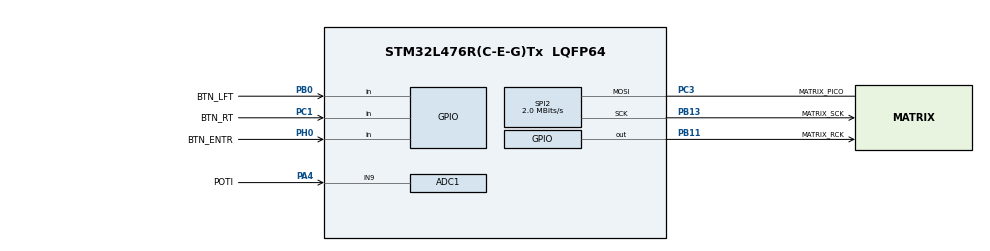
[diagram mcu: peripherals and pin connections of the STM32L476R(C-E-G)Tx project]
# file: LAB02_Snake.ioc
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ADC1.Channel-0\#ChannelRegularConversion=ADC_CHANNEL_9
ADC1.ClockPrescaler=ADC_CLOCK_ASYNC_DIV8
ADC1.ContinuousConvMode=ENABLE
ADC1.NbrOfConversion=1
ADC1.NbrOfConversionFlag=1
ADC1.OffsetNumber-0\#ChannelRegularConversion=ADC_OFFSET_NONE
ADC1.Overrun=ADC_OVR_DATA_OVERWRITTEN
ADC1.Rank-0\#ChannelRegularConversion=1
ADC1.SamplingTime-0\#ChannelRegularConversion=ADC_SAMPLETIME_92CYCLES_5
ADC1.master=1
Mcu.Family=STM32L4
Mcu.Name=STM32L476R(C-E-G)Tx
Mcu.Package=LQFP64
NVIC.PriorityGroup=NVIC_PRIORITYGROUP_4
PA4.GPIO_Label=POTI
PA4.Signal=ADCx_IN9
PB0.GPIO_Label=BTN_LFT
PB0.Signal=GPIO_Input
PB11.GPIO_Label=MATRIX_RCK
PB11.Signal=GPIO_Output
PB13.GPIO_Label=MATRIX_SCK
PB13.Mode=Simplex_Bidirectional_Master
PB13.Signal=SPI2_SCK
PC1.GPIO_Label=BTN_RT
PC1.Signal=GPIO_Input
PC3.GPIO_Label=MATRIX_PICO
PC3.Mode=Simplex_Bidirectional_Master
PC3.Signal=SPI2_MOSI
PH0-OSC_IN\ (PH0).GPIO_Label=BTN_ENTR
PH0-OSC_IN\ (PH0).Signal=GPIO_Input
ProjectManager.HeapSize=0x200
ProjectManager.StackSize=0x400
ProjectManager.TargetToolchain=STM32CubeIDE
RCC.ADCFreq_Value=32000000
RCC.HSE_VALUE=8000000
RCC.HSI_VALUE=16000000
RCC.LSE_VALUE=32768
RCC.MSI_VALUE=4000000
RCC.PLLSAI1N=16
RCC.USBFreq_Value=32000000
RCC.VCOOutputFreq_Value=32000000
SH.ADCx_IN9.0=ADC1_IN9,IN9-Single-Ended
SPI2.CalculateBaudRate=2.0 MBits/s
SPI2.DataSize=SPI_DATASIZE_8BIT
SPI2.Direction=SPI_DIRECTION_1LINE
SPI2.Mode=SPI_MODE_MASTER
SPI2.VirtualType=VM_MASTER
board=custom

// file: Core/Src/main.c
/* USER CODE BEGIN Header */
/**
 * @file main.c
 * @brief Snake Game board config + main function.
 * @author Philipp Schilk, 2023
 *
 * For very important research project!
 */

/* USER CODE END Header */
#include "main.h"

/* USER CODE BEGIN Includes */
#include "snake.h"
/* USER CODE END Includes */

ADC_HandleTypeDef hadc1;

SPI_HandleTypeDef hspi2;

void SystemClock_Config(void);
static void MX_GPIO_Init(void);
static void MX_SPI2_Init(void);
static void MX_ADC1_Init(void);

int main(void)
{

  /* MCU Configuration--------------------------------------------------------*/

  /* Reset of all peripherals, Initializes the Flash interface and the Systick. */
  HAL_Init();

  /* Configure the system clock */
  SystemClock_Config();

  /* Initialize all configured peripherals */
  MX_GPIO_Init();
  MX_SPI2_Init();
  MX_ADC1_Init();
  /* USER CODE BEGIN 2 */

  // Start ADC conversions:
  if (HAL_ADC_Start(&hadc1) != HAL_OK) {
    while (1) {
    }
  }

  // Run Snake:
  snake_run(); // never returns.

  /* USER CODE END 2 */

  /* Infinite loop */

}

void SystemClock_Config(void)
{
  RCC_OscInitTypeDef RCC_OscInitStruct = {0};
  RCC_ClkInitTypeDef RCC_ClkInitStruct = {0};

  /** Configure the main internal regulator output voltage
  */
  if (HAL_PWREx_ControlVoltageScaling(PWR_REGULATOR_VOLTAGE_SCALE1) != HAL_OK)
  {
    Error_Handler();
  }

  /** Initializes the RCC Oscillators according to the specified parameters
  * in the RCC_OscInitTypeDef structure.
  */
  RCC_OscInitStruct.OscillatorType = RCC_OSCILLATORTYPE_MSI;
  RCC_OscInitStruct.MSIState = RCC_MSI_ON;
  RCC_OscInitStruct.MSICalibrationValue = 0;
  RCC_OscInitStruct.MSIClockRange = RCC_MSIRANGE_6;
  RCC_OscInitStruct.PLL.PLLState = RCC_PLL_NONE;
  if (HAL_RCC_OscConfig(&RCC_OscInitStruct) != HAL_OK)
  {
    Error_Handler();
  }

  /** Initializes the CPU, AHB and APB buses clocks
  */
  RCC_ClkInitStruct.ClockType = RCC_CLOCKTYPE_HCLK|RCC_CLOCKTYPE_SYSCLK
                              |RCC_CLOCKTYPE_PCLK1|RCC_CLOCKTYPE_PCLK2;
  RCC_ClkInitStruct.SYSCLKSource = RCC_SYSCLKSOURCE_MSI;
  RCC_ClkInitStruct.AHBCLKDivider = RCC_SYSCLK_DIV1;
  RCC_ClkInitStruct.APB1CLKDivider = RCC_HCLK_DIV1;
  RCC_ClkInitStruct.APB2CLKDivider = RCC_HCLK_DIV1;

  if (HAL_RCC_ClockConfig(&RCC_ClkInitStruct, FLASH_LATENCY_0) != HAL_OK)
  {
    Error_Handler();
  }
}

static void MX_ADC1_Init(void)
{

  ADC_MultiModeTypeDef multimode = {0};
  ADC_ChannelConfTypeDef sConfig = {0};

  /** Common config
  */
  hadc1.Instance = ADC1;
  hadc1.Init.ClockPrescaler = ADC_CLOCK_ASYNC_DIV8;
  hadc1.Init.Resolution = ADC_RESOLUTION_12B;
  hadc1.Init.DataAlign = ADC_DATAALIGN_RIGHT;
  hadc1.Init.ScanConvMode = ADC_SCAN_DISABLE;
  hadc1.Init.EOCSelection = ADC_EOC_SINGLE_CONV;
  hadc1.Init.LowPowerAutoWait = DISABLE;
  hadc1.Init.ContinuousConvMode = ENABLE;
  hadc1.Init.NbrOfConversion = 1;
  hadc1.Init.DiscontinuousConvMode = DISABLE;
  hadc1.Init.ExternalTrigConv = ADC_SOFTWARE_START;
  hadc1.Init.ExternalTrigConvEdge = ADC_EXTERNALTRIGCONVEDGE_NONE;
  hadc1.Init.DMAContinuousRequests = DISABLE;
  hadc1.Init.Overrun = ADC_OVR_DATA_OVERWRITTEN;
  hadc1.Init.OversamplingMode = DISABLE;
  if (HAL_ADC_Init(&hadc1) != HAL_OK)
  {
    Error_Handler();
  }

  /** Configure the ADC multi-mode
  */
  multimode.Mode = ADC_MODE_INDEPENDENT;
  if (HAL_ADCEx_MultiModeConfigChannel(&hadc1, &multimode) != HAL_OK)
  {
    Error_Handler();
  }

  /** Configure Regular Channel
  */
  sConfig.Channel = ADC_CHANNEL_9;
  sConfig.Rank = ADC_REGULAR_RANK_1;
  sConfig.SamplingTime = ADC_SAMPLETIME_92CYCLES_5;
  sConfig.SingleDiff = ADC_SINGLE_ENDED;
  sConfig.OffsetNumber = ADC_OFFSET_NONE;
  sConfig.Offset = 0;
  if (HAL_ADC_ConfigChannel(&hadc1, &sConfig) != HAL_OK)
  {
    Error_Handler();
  }

}

static void MX_SPI2_Init(void)
{

  /* SPI2 parameter configuration*/
  hspi2.Instance = SPI2;
  hspi2.Init.Mode = SPI_MODE_MASTER;
  hspi2.Init.Direction = SPI_DIRECTION_1LINE;
  hspi2.Init.DataSize = SPI_DATASIZE_8BIT;
  hspi2.Init.CLKPolarity = SPI_POLARITY_LOW;
  hspi2.Init.CLKPhase = SPI_PHASE_1EDGE;
  hspi2.Init.NSS = SPI_NSS_SOFT;
  hspi2.Init.BaudRatePrescaler = SPI_BAUDRATEPRESCALER_2;
  hspi2.Init.FirstBit = SPI_FIRSTBIT_MSB;
  hspi2.Init.TIMode = SPI_TIMODE_DISABLE;
  hspi2.Init.CRCCalculation = SPI_CRCCALCULATION_DISABLE;
  hspi2.Init.CRCPolynomial = 7;
  hspi2.Init.CRCLength = SPI_CRC_LENGTH_DATASIZE;
  hspi2.Init.NSSPMode = SPI_NSS_PULSE_ENABLE;
  if (HAL_SPI_Init(&hspi2) != HAL_OK)
  {
    Error_Handler();
  }

}

static void MX_GPIO_Init(void)
{
  GPIO_InitTypeDef GPIO_InitStruct = {0};

  /* GPIO Ports Clock Enable */
  __HAL_RCC_GPIOH_CLK_ENABLE();
  __HAL_RCC_GPIOC_CLK_ENABLE();
  __HAL_RCC_GPIOA_CLK_ENABLE();
  __HAL_RCC_GPIOB_CLK_ENABLE();

  /*Configure GPIO pin Output Level */
  HAL_GPIO_WritePin(MATRIX_RCK_GPIO_Port, MATRIX_RCK_Pin, GPIO_PIN_RESET);

  /*Configure GPIO pin : BTN_ENTR_Pin */
  GPIO_InitStruct.Pin = BTN_ENTR_Pin;
  GPIO_InitStruct.Mode = GPIO_MODE_INPUT;
  GPIO_InitStruct.Pull = GPIO_NOPULL;
  HAL_GPIO_Init(BTN_ENTR_GPIO_Port, &GPIO_InitStruct);

  /*Configure GPIO pin : BTN_RT_Pin */
  GPIO_InitStruct.Pin = BTN_RT_Pin;
  GPIO_InitStruct.Mode = GPIO_MODE_INPUT;
  GPIO_InitStruct.Pull = GPIO_NOPULL;
  HAL_GPIO_Init(BTN_RT_GPIO_Port, &GPIO_InitStruct);

  /*Configure GPIO pin : BTN_LFT_Pin */
  GPIO_InitStruct.Pin = BTN_LFT_Pin;
  GPIO_InitStruct.Mode = GPIO_MODE_INPUT;
  GPIO_InitStruct.Pull = GPIO_NOPULL;
  HAL_GPIO_Init(BTN_LFT_GPIO_Port, &GPIO_InitStruct);

  /*Configure GPIO pin : MATRIX_RCK_Pin */
  GPIO_InitStruct.Pin = MATRIX_RCK_Pin;
  GPIO_InitStruct.Mode = GPIO_MODE_OUTPUT_PP;
  GPIO_InitStruct.Pull = GPIO_NOPULL;
  GPIO_InitStruct.Speed = GPIO_SPEED_FREQ_LOW;
  HAL_GPIO_Init(MATRIX_RCK_GPIO_Port, &GPIO_InitStruct);

}

/* USER CODE BEGIN 4 */

bool snake_read_left_button() {
  // TODO: Complete this function. Return 'true' if the left button is pressed.
  // HAL_GPIO_ReadPin(BTN_ENTER_GPIO_port, BTN_ENTER_Pin)
  return (HAL_GPIO_ReadPin(BTN_LFT_GPIO_Port, BTN_LFT_Pin) == GPIO_PIN_SET);
}
bool snake_read_right_button() {
  // TODO: Complete this function. Return 'true' if the right button is pressed.
  return (HAL_GPIO_ReadPin(BTN_RT_GPIO_Port, BTN_RT_Pin) == GPIO_PIN_SET);
}
bool snake_read_enter_button() {
  // TODO: Complete this function. Return 'true' if the enter button is pressed.
  return (HAL_GPIO_ReadPin(BTN_ENTR_GPIO_Port, BTN_ENTR_Pin) == GPIO_PIN_SET);
}

void snake_write_display(uint32_t red, uint32_t green) {
  // This function uses the SPI peripheral (a serial bus) to
  // write to the LED matrix on the shield. We will cover
  // serial interfaces in a later exercise.

  // Ensure RCK (Latch pin is lock):
  HAL_GPIO_WritePin(MATRIX_RCK_GPIO_Port, MATRIX_RCK_Pin, GPIO_PIN_RESET);

  // Construct 3 byte buffer:
  uint8_t buf[] = {
      red >> 4,
      (red & 0xF) << 4 | (green >> 8),
      green & 0xff,
  };

  // Transmit:
  HAL_SPI_Transmit(&hspi2, buf, 3, 300);

  // Latch:
  HAL_GPIO_WritePin(MATRIX_RCK_GPIO_Port, MATRIX_RCK_Pin, GPIO_PIN_SET);
  HAL_Delay(1);
  HAL_GPIO_WritePin(MATRIX_RCK_GPIO_Port, MATRIX_RCK_Pin, GPIO_PIN_RESET);
}

uint32_t snake_read_adc() {
  // This function uses the ADC (Analog-to-Digital Converter)
  // to read the output voltage of the potentiometer.
  // We will cover the ADC in a later exercise.

  // Wait for conversion to complete:
  HAL_ADC_PollForConversion(&hadc1, 100);

  // Return value:
  return HAL_ADC_GetValue(&hadc1);
}

/* USER CODE END 4 */

void Error_Handler(void)
{
  __disable_irq();
  while (1) {
  }
}
